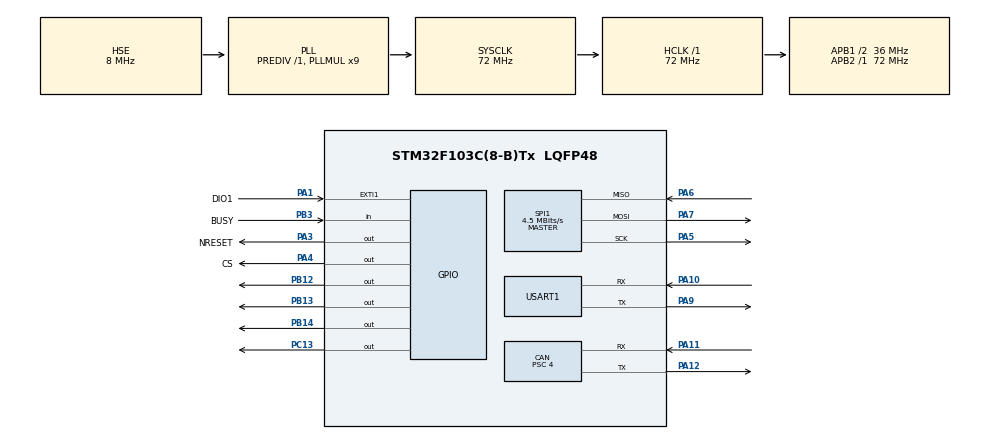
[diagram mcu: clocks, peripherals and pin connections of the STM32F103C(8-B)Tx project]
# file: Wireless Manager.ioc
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CAN.BS1=CAN_BS1_12TQ
CAN.BS2=CAN_BS2_5TQ
CAN.CalculateBaudRate=500000
CAN.CalculateTimeBit=2000
CAN.CalculateTimeQuantum=111.11111111111111
CAN.Prescaler=4
Dma.Request0=USART1_TX
Dma.USART1_TX.0.Direction=DMA_MEMORY_TO_PERIPH
Dma.USART1_TX.0.Instance=DMA1_Channel4
Dma.USART1_TX.0.MemDataAlignment=DMA_MDATAALIGN_BYTE
Dma.USART1_TX.0.MemInc=DMA_MINC_ENABLE
Dma.USART1_TX.0.Mode=DMA_NORMAL
Dma.USART1_TX.0.PeriphDataAlignment=DMA_PDATAALIGN_BYTE
Dma.USART1_TX.0.PeriphInc=DMA_PINC_DISABLE
Dma.USART1_TX.0.Priority=DMA_PRIORITY_LOW
Mcu.Family=STM32F1
Mcu.Name=STM32F103C(8-B)Tx
Mcu.Package=LQFP48
NVIC.CAN1_RX1_IRQn=true\:0\:0\:false\:false\:true\:true\:true\:true
NVIC.DMA1_Channel4_IRQn=true\:0\:0\:false\:false\:true\:false\:true\:true
NVIC.EXTI1_IRQn=true\:0\:0\:false\:false\:true\:true\:true\:true
NVIC.PriorityGroup=NVIC_PRIORITYGROUP_4
NVIC.TIM1_UP_IRQn=true\:0\:0\:false\:false\:true\:true\:true\:true
NVIC.USART1_IRQn=true\:0\:0\:false\:false\:true\:true\:true\:true
PA1.GPIO_Label=DIO1
PA1.GPIO_PuPd=GPIO_PULLDOWN
PA1.Signal=GPXTI1
PA10.Mode=Asynchronous
PA10.Signal=USART1_RX
PA11.Mode=CAN_Activate
PA11.Signal=CAN_RX
PA12.Mode=CAN_Activate
PA12.Signal=CAN_TX
PA13.Mode=Serial_Wire
PA13.Signal=SYS_JTMS-SWDIO
PA14.Mode=Serial_Wire
PA14.Signal=SYS_JTCK-SWCLK
PA3.GPIO_Label=NRESET
PA3.GPIO_PuPd=GPIO_PULLUP
PA3.PinState=GPIO_PIN_SET
PA3.Signal=GPIO_Output
PA4.GPIO_Label=CS
PA4.GPIO_PuPd=GPIO_PULLUP
PA4.PinState=GPIO_PIN_SET
PA4.Signal=GPIO_Output
PA5.Mode=Full_Duplex_Master
PA5.Signal=SPI1_SCK
PA6.Mode=Full_Duplex_Master
PA6.Signal=SPI1_MISO
PA7.Mode=Full_Duplex_Master
PA7.Signal=SPI1_MOSI
PA9.Mode=Asynchronous
PA9.Signal=USART1_TX
PB12.Signal=GPIO_Output
PB13.Signal=GPIO_Output
PB14.Signal=GPIO_Output
PB3.GPIO_Label=BUSY
PB3.GPIO_PuPd=GPIO_NOPULL
PB3.Signal=GPIO_Input
PC13-TAMPER-RTC.Signal=GPIO_Output
PD0-OSC_IN.Mode=HSE-External-Oscillator
PD0-OSC_IN.Signal=RCC_OSC_IN
PD1-OSC_OUT.Mode=HSE-External-Oscillator
PD1-OSC_OUT.Signal=RCC_OSC_OUT
ProjectManager.HeapSize=0x200
ProjectManager.StackSize=0x400
ProjectManager.TargetToolchain=STM32CubeIDE
RCC.AHBFreq_Value=72000000
RCC.APB1CLKDivider=RCC_HCLK_DIV2
RCC.APB1Freq_Value=36000000
RCC.APB1TimFreq_Value=72000000
RCC.APB2Freq_Value=72000000
RCC.APB2TimFreq_Value=72000000
RCC.HCLKFreq_Value=72000000
RCC.PLLMUL=RCC_PLL_MUL9
RCC.PLLSourceVirtual=RCC_PLLSOURCE_HSE
RCC.SYSCLKFreq_VALUE=72000000
RCC.SYSCLKSource=RCC_SYSCLKSOURCE_PLLCLK
RCC.USBFreq_Value=72000000
SPI1.BaudRatePrescaler=SPI_BAUDRATEPRESCALER_16
SPI1.CalculateBaudRate=4.5 MBits/s
SPI1.Direction=SPI_DIRECTION_2LINES
SPI1.Mode=SPI_MODE_MASTER
SPI1.VirtualType=VM_MASTER
TIM1.Period=999
TIM1.Prescaler=71
USART1.VirtualMode=VM_ASYNC
VP_TIM1_VS_ClockSourceINT.Mode=Internal
board=custom

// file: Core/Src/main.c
/* USER CODE BEGIN Header */
/**
  ******************************************************************************
  * @file           : main.c
  * @brief          : Main program body
  ******************************************************************************
  * @attention
  *s.
  * All rights reserved.
  * Copyright (c) 2025 STMicroelectronic
  *
  * This software is licensed under terms that can be found in the LICENSE file
  * in the root directory of this software component.
  * If no LICENSE file comes with this software, it is provided AS-IS.
  *
  ******************************************************************************
  */
/* USER CODE END Header */
#include "main.h"
#include "can.h"
#include "dma.h"
#include "spi.h"
#include "tim.h"
#include "usart.h"
#include "gpio.h"

/* USER CODE BEGIN Includes */
#include <string.h>
#include "llcc68.h"
#include "llcc68_app.h"
#include "Can_Config.h"
#include "can_receive_control.h"
/* USER CODE END Includes */

/* USER CODE BEGIN PTD */
#define CAN_FRAME_BUFFER_SIZE 20  // CAN数据帧缓冲区大小

/* USER CODE END PTD */

/* USER CODE BEGIN PD */

// 配置
#define MODEL	1	// 收发模式   1：发送；0：接收

/* USER CODE END PD */

/* USER CODE BEGIN PV */

// llcc68接收数据许可
extern volatile uint8_t able_to_send;

// CAN数据帧
typedef struct __attribute__((__packed__))
{
    uint8_t  frame_start_1; // 帧头: 0x55
    uint8_t  frame_start_2; // 帧头: 0xAA
    uint8_t  ide;        // 0: 标准帧, 1: 扩展帧
    uint8_t  rtr;        // 0: 数据帧, 1: 远程帧
    uint8_t  dlc;        // 0~8
    uint8_t  reserved;   // 保留位
    uint32_t id;         // ide=0 时，仅低 11 bit 有效；ide=1 时，低 29 bit 有效
    uint8_t  data[8];    // 实际用前 dlc 个字节
    uint16_t crc;       // CRC 校验码
} can_frame_t;

// CAN数据帧环形缓冲区
can_frame_t can_frame_buffer[CAN_FRAME_BUFFER_SIZE] = {0};
uint8_t can_frame_current_send_index = 0;
uint8_t can_frame_current_receive_index = 0;

// 必须添加 volatile，防止编译器优化导致主循环无法读取到中断更新的值
volatile uint8_t can_frame_buffer_send_count = 0;
volatile uint8_t can_frame_buffer_receive_count = 0;

// 接收缓存区
uint8_t llcc68_rx_buffer[256] = {0};

// 中断计时变量
uint32_t tick = 0;
uint32_t wireless_send_tick = 0;
uint32_t pb12_tick = 0;
uint32_t pb13_tick = 0;
uint32_t pb14_tick = 0;

/* USER CODE END PV */

void SystemClock_Config(void);
/* USER CODE BEGIN PFP */

// 计算CRC16校验码
uint16_t Calculate_CRC16(uint8_t *pData, uint16_t len);

/* USER CODE END PFP */

int main(void)
{

  /* MCU Configuration--------------------------------------------------------*/

  /* Reset of all peripherals, Initializes the Flash interface and the Systick. */
  HAL_Init();

  /* Configure the system clock */
  SystemClock_Config();

  /* Initialize all configured peripherals */
  MX_GPIO_Init();
  MX_DMA_Init();
  MX_SPI1_Init();
  MX_TIM1_Init();
  MX_USART1_UART_Init();
  MX_CAN_Init();
  /* USER CODE BEGIN 2 */

  // 初始化定时器中断
  HAL_TIM_Base_Start_IT(&htim1);
  // 初始化LLCC68
  LLCC68_Init(MODEL);
  // 初始化Can
  if (MODEL == 1)
  {
	  CAN_Init(&hcan);
	  CAN_Filter_Config(&hcan, CAN_FILTER(13) | CAN_FIFO_1 | CAN_STDID | CAN_DATA_TYPE, 0xC0, 0x00);	// 初始化Can接收
  }

  /* USER CODE END 2 */

  /* Infinite loop */
  /* USER CODE BEGIN WHILE */
  while (1)
  {
    // 检测发送标志位以及发送数据
    if (can_frame_buffer_send_count != can_frame_buffer_receive_count && MODEL == 1)
    {
      static uint8_t count = 0;
      static can_frame_t send_buffer[6] = {0};

      // 若 send_buffer 未满则继续填充数据
      if (count < sizeof(send_buffer) / sizeof(can_frame_t))
      {
        // 将数据拷贝到软件发送缓冲区
        memcpy(&send_buffer[count], &can_frame_buffer[can_frame_current_send_index], sizeof(can_frame_t));

        // 更新索引和计数
        can_frame_current_send_index = (can_frame_current_send_index + 1) % CAN_FRAME_BUFFER_SIZE;
        can_frame_buffer_send_count++;

        // 发送缓存区计数加一
        count++;
      }

      uint8_t buffer_full = (count >= (sizeof(send_buffer) / sizeof(can_frame_t))) ? 1 : 0;
      uint8_t timeout = (HAL_GetTick() - wireless_send_tick >= 500) ? 1 : 0;

      // 若 send_buffer 满或超时则发送数据
      if (buffer_full || timeout)
      {
        // 无线发送数据
        if (LLCC68_Send((uint8_t*)send_buffer, sizeof(send_buffer)) == LLCC68_STATUS_OK)
        {
          // 清除count计数
          count = 0;
          // 发送成功指示灯
          HAL_GPIO_WritePin(GPIOB, GPIO_PIN_13, SET);
          pb13_tick = tick;
          // 更新时间戳
          wireless_send_tick = tick;
          // 发送成功后清空发送缓存区
          memset(send_buffer, 0, sizeof(send_buffer));
        }
        else
        {
          // 发送失败处理（可选）
        }

      }
    }

    // 正常运行好指示灯
    HAL_GPIO_TogglePin(GPIOC, GPIO_PIN_13);

    /* USER CODE END WHILE */

    /* USER CODE BEGIN 3 */
    if (can_frame_buffer_send_count == can_frame_buffer_receive_count)
    {
        HAL_Delay(1);
    }

  }
  /* USER CODE END 3 */
}

void SystemClock_Config(void)
{
  RCC_OscInitTypeDef RCC_OscInitStruct = {0};
  RCC_ClkInitTypeDef RCC_ClkInitStruct = {0};

  /** Initializes the RCC Oscillators according to the specified parameters
  * in the RCC_OscInitTypeDef structure.
  */
  RCC_OscInitStruct.OscillatorType = RCC_OSCILLATORTYPE_HSE;
  RCC_OscInitStruct.HSEState = RCC_HSE_ON;
  RCC_OscInitStruct.HSEPredivValue = RCC_HSE_PREDIV_DIV1;
  RCC_OscInitStruct.HSIState = RCC_HSI_ON;
  RCC_OscInitStruct.PLL.PLLState = RCC_PLL_ON;
  RCC_OscInitStruct.PLL.PLLSource = RCC_PLLSOURCE_HSE;
  RCC_OscInitStruct.PLL.PLLMUL = RCC_PLL_MUL9;
  if (HAL_RCC_OscConfig(&RCC_OscInitStruct) != HAL_OK)
  {
    Error_Handler();
  }

  /** Initializes the CPU, AHB and APB buses clocks
  */
  RCC_ClkInitStruct.ClockType = RCC_CLOCKTYPE_HCLK|RCC_CLOCKTYPE_SYSCLK
                              |RCC_CLOCKTYPE_PCLK1|RCC_CLOCKTYPE_PCLK2;
  RCC_ClkInitStruct.SYSCLKSource = RCC_SYSCLKSOURCE_PLLCLK;
  RCC_ClkInitStruct.AHBCLKDivider = RCC_SYSCLK_DIV1;
  RCC_ClkInitStruct.APB1CLKDivider = RCC_HCLK_DIV2;
  RCC_ClkInitStruct.APB2CLKDivider = RCC_HCLK_DIV1;

  if (HAL_RCC_ClockConfig(&RCC_ClkInitStruct, FLASH_LATENCY_2) != HAL_OK)
  {
    Error_Handler();
  }
}

/* USER CODE BEGIN 4 */

// 计算CRC16校验码
// 数据指针， 数据长度
uint16_t Calculate_CRC16(uint8_t *pData, uint16_t len)
{
  uint16_t crc = 0xFFFF;
  for (uint16_t i = 0; i < len; i++)
  {
    crc ^= (uint16_t)pData[i] << 8;
    for (uint8_t j = 0; j < 8; j++)
    {
      if (crc & 0x8000)
        crc = (crc << 1) ^ 0x1021;
      else
        crc <<= 1;
    }
  }
  return crc;
}

// DIO1中断回调函数
void HAL_GPIO_EXTI_Callback(uint16_t GPIO_Pin)
{
  if (GPIO_Pin == DIO1_Pin)
  {
    uint16_t irq_status;
    llcc68_get_irq_status(NULL, &irq_status);
    LLCC68_Wait_Busy();
    if (irq_status == LLCC68_IRQ_TX_DONE)
    {
      LLCC68_TransmitCallback();
    }
    else if (irq_status == LLCC68_IRQ_RX_DONE)
    {
      LLCC68_ReceiveCallback((uint8_t*)llcc68_rx_buffer, (uint8_t)sizeof(llcc68_rx_buffer));
    }
    else if (irq_status == LLCC68_IRQ_TIMEOUT)
    {
      // 处理超时事件
      llcc68_clear_irq_status(NULL, LLCC68_IRQ_TIMEOUT);
      // 重启接收模式
      LLCC68_Receive();
      // 超时指示灯
      //HAL_GPIO_WritePin(GPIOB, GPIO_PIN_14, SET);
      //pb14_tick = tick;
    }
  }
}

// 定时器中断
void HAL_TIM_PeriodElapsedCallback(TIM_HandleTypeDef *htim)
{
	if (htim == &htim1)
	{
		tick++;
		// Tx
		if ((tick - pb12_tick) >= 30 && pb12_tick != 0)
		{
			pb12_tick = 0;
			HAL_GPIO_WritePin(GPIOB, GPIO_PIN_12, RESET);
		}
		// Rx
		if ((tick - pb13_tick) >= 30 && pb13_tick != 0)
		{
			pb13_tick = 0;
			HAL_GPIO_WritePin(GPIOB, GPIO_PIN_13, RESET);
		}
		// TimeOut
		if ((tick - pb14_tick) >= 30 && pb14_tick != 0)
		{
			pb14_tick = 0;
			HAL_GPIO_WritePin(GPIOB, GPIO_PIN_14, RESET);
		}
	}
}

// 串口中断回调
void HAL_UART_TxCpltCallback(UART_HandleTypeDef *huart)
{
    // 传输完成后的处理代码
    if (huart == &huart1)
    {
        ;// 可以在这里添加传输完成后的操作
    }
}

// CAN接收中断回调：FIFO1
void HAL_CAN_RxFifo1MsgPendingCallback(CAN_HandleTypeDef *hcan)
{
  // 仅发射模式有效
  if (MODEL != 1)
  {
	  return;
  }

  // can数据存储变量
	CAN_RxHeaderTypeDef header;
	uint8_t data[8] = {0};

	// 从FIFO中读取数据
	HAL_CAN_GetRxMessage(hcan, CAN_RX_FIFO1, &header, data);

  // 如果接收缓冲区饱和则直接丢弃
  if ((uint8_t)(can_frame_buffer_receive_count - can_frame_buffer_send_count) >= CAN_FRAME_BUFFER_SIZE - 2)  //强制将结果作为uint类型，利用uint溢出特性可以计算差值，防止编译器自动把结果提升成int导致出现负数
  {
      return;
  }

	// 符合接收条件则存储数据
  if (check_and_update_cooldown(header.StdId) == 0)
  {
    // 填充数据帧
    can_frame_buffer[can_frame_current_receive_index].frame_start_1 = 0x55;
    can_frame_buffer[can_frame_current_receive_index].frame_start_2 = 0xAA;
    can_frame_buffer[can_frame_current_receive_index].ide = (header.IDE == CAN_ID_STD) ? 0 : 1;
    can_frame_buffer[can_frame_current_receive_index].rtr = (header.RTR == CAN_RTR_DATA) ? 0 : 1;
    can_frame_buffer[can_frame_current_receive_index].dlc = header.DLC;
    can_frame_buffer[can_frame_current_receive_index].id = (header.IDE == CAN_ID_STD) ? header.StdId : header.ExtId;
    memcpy(can_frame_buffer[can_frame_current_receive_index].data, data, 8);	// 此处应当固定8字节，以防内存界限出现错误
    // 计算crc
    can_frame_buffer[can_frame_current_receive_index].crc = Calculate_CRC16((uint8_t*)&can_frame_buffer[can_frame_current_receive_index], sizeof(can_frame_t) - 2);

    // 更新索引和计数
    can_frame_current_receive_index = (can_frame_current_receive_index + 1) % CAN_FRAME_BUFFER_SIZE;

    can_frame_buffer_receive_count++;
  }

}

/* USER CODE END 4 */

void Error_Handler(void)
{
  __disable_irq();
  while (1)
  {
  }
}
